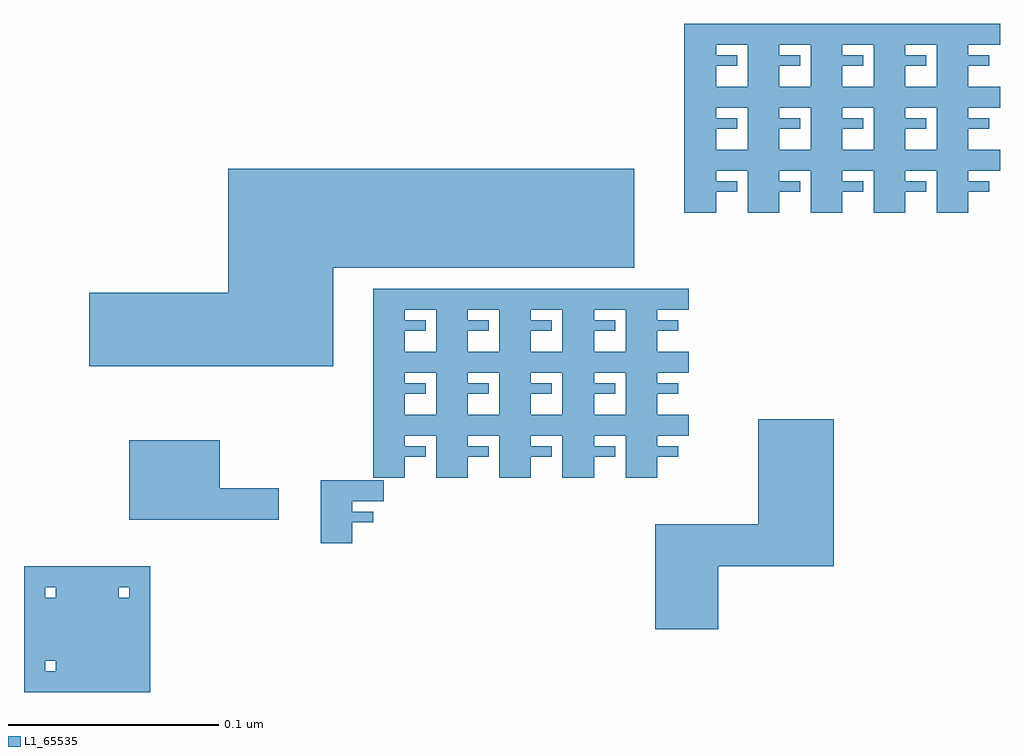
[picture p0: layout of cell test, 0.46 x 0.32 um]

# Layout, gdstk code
from math import pi, radians
import gdstk
lib = gdstk.Library(unit=1e-6, precision=1e-09)
def R(c, l, rs):  # rectangles x0, y0, x1, y1
    for r in rs: c.add(gdstk.rectangle(r[:2], r[2:], *l))
def P(c, l, *ps):  # polygons
    for p in ps: c.add(gdstk.Polygon(p, *l))
L1_65535 = (1, 65535)

f_mark = lib.new_cell('f_mark')
P(f_mark, L1_65535, [(0,0),(0,0.03),(0.03,0.03),(0.03,0.02),(0.015,0.02),(0.015,0.015),(0.025,0.015),(0.025,0.01),(0.015,0.01),(0.015,0)])

c_a = lib.new_cell('A')
P(c_a, L1_65535, [(0,0),(0,0.03),(0.03,0.03),(0.03,0.02),(0.015,0.02),(0.015,0.015),(0.025,0.015),(0.025,0.01),(0.015,0.01),(0.015,0)])

test = lib.new_cell('test')
R(test, L1_65535, [(0,0,0.01,0.01)])
P(test, L1_65535, [(0.02,0.052),(0.091,0.052),(0.091,0.067),(0.063,0.067),(0.063,0.09),(0.02,0.09)],
  [(0.27,0),(0.27,0.05),(0.319,0.05),(0.319,0.1),(0.355,0.1),(0.355,0.03),(0.3,0.03),(0.3,0)],
  [(0.001,0.125),(0.117,0.125),(0.117,0.172),(0.26,0.172),(0.26,0.219),(0.067,0.219),(0.067,0.16),(0.001,0.16)])
test.add(gdstk.Reference(f_mark, (0,0)))
r = gdstk.Reference(f_mark, (0.284,0.198)); r.repetition = gdstk.Repetition(5, 3, v1=(0.03,0), v2=(0,0.03)); test.add(r)
r = gdstk.Reference(f_mark, (0.136,0.072)); r.repetition = gdstk.Repetition(1, 3, v1=(0,0), v2=(0,0.03)); test.add(r)
r = gdstk.Reference(f_mark, (0.166,0.072)); r.repetition = gdstk.Repetition(1, 3, v1=(0,0), v2=(0,0.03)); test.add(r)
r = gdstk.Reference(f_mark, (0.196,0.072)); r.repetition = gdstk.Repetition(1, 3, v1=(0,0), v2=(0,0.03)); test.add(r)
r = gdstk.Reference(f_mark, (0.226,0.072)); r.repetition = gdstk.Repetition(1, 3, v1=(0,0), v2=(0,0.03)); test.add(r)
r = gdstk.Reference(f_mark, (0.256,0.072)); r.repetition = gdstk.Repetition(1, 3, v1=(0,0), v2=(0,0.03)); test.add(r)
test.add(gdstk.Reference(f_mark, (0,0), rotation=pi, x_reflection=True))
test.add(gdstk.Reference(f_mark, (0,0), rotation=3*pi/2, x_reflection=True))
test.add(gdstk.Reference(f_mark, (0,0), rotation=pi/2))
test.add(gdstk.Reference(f_mark, (0,0), rotation=pi))
r = gdstk.Reference(f_mark, (0,-0.03), rotation=pi/2, x_reflection=True); r.repetition = gdstk.Repetition(1, 2, v1=(0,0), v2=(0,0.03)); test.add(r)
test.add(gdstk.Reference(f_mark, (0,0), rotation=3*pi/2))
test.add(gdstk.Reference(c_a, (0.111,0.041)))

lib.write_gds('test.gds')
